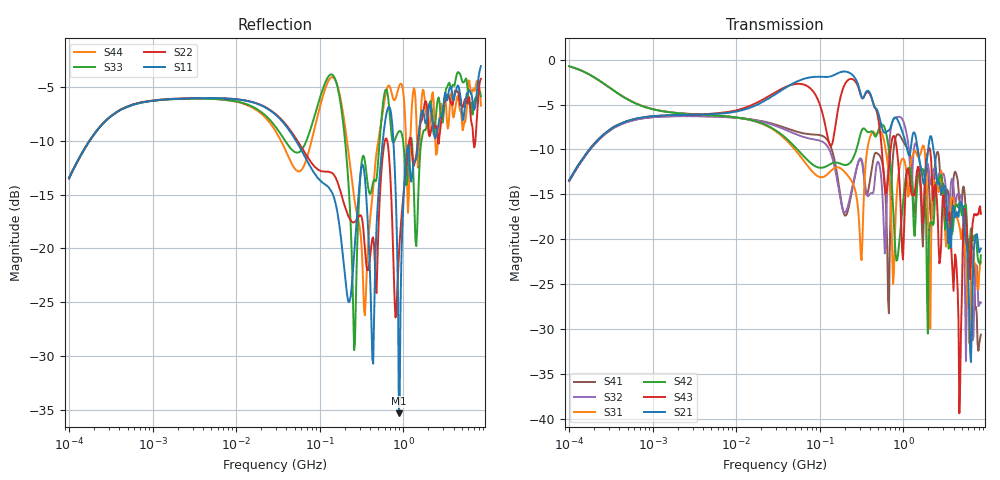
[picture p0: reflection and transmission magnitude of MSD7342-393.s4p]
# MHz S MA R 50
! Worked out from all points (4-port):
!   498 points, 100 kHz to 8.5 GHz, reference 50 ohm
!   strongest paths, dB at 100 kHz, 1.698 MHz, 29.49 MHz, 500.7 MHz, 8.5 GHz:
!     S21: -13.4, -6.2, -3.8, -5.9, -21.0
!     S43: -13.4, -6.2, -3.6, -6.5, -17.2
!     S42: -0.7, -5.9, -7.8, -7.9, -21.8
!     S31: -0.7, -5.9, -7.9, -8.1, -22.6
!     S32: -13.5, -6.3, -7.4, -11.4, -27.1
!     S41: -13.5, -6.3, -7.2, -10.5, -30.6
!   lowest |S11| = -35.3 dB at 886.1 MHz (marker M1), VSWR 1.03, Z = 48.4 - j0.551 ohm
!   |S11| at or under -10 dB: start of sweep to 175.7 kHz; 52.06 MHz to 569 MHz (516.9 MHz wide, 166 % of centre); 761.4 MHz to 1.512 GHz (750.1 MHz wide, 66 % of centre)
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0.1  0.2118 63.4  0.2128 64.2  0.9199 -12.1  0.2106 -116.1
     0.2128 64.2  0.2108 63.7  0.2108 -116.2  0.9209 -12.1
     0.9199 -12.1  0.2108 -116.2  0.214 63.8  0.2129 64.1
     0.2106 -116.1  0.9209 -12.1  0.2129 64.1  0.2125 63.5
88.25704  0.2207 -62.2  0.803 -10.8  0.2297 -141.3  0.3826 47.1
          0.803 -10.8  0.2383 -46.9  0.3586 55.7  0.2551 -135.1
          0.2297 -141.3  0.3586 55.7  0.4221 0.6  0.6415 -35.1
          0.3826 47.1  0.2551 -135.1  0.6415 -35.1  0.3704 8.7
426.6928  0.03069 -149.8  0.5965 -96.2  0.395 -15.7  0.2587 -30.2
          0.5965 -96.2  0.1111 31.9  0.1801 -28.8  0.3986 -34.8
          0.395 -15.7  0.1801 -28.8  0.1947 -26.6  0.5943 -111.3
          0.2587 -30.2  0.3986 -34.8  0.5943 -111.3  0.1727 22.2
689.2879  0.4514 -73.9  0.4094 -115.8  0.1968 -132.4  0.08751 -17.2
          0.4094 -115.8  0.241 -96.5  0.3652 -30.6  0.2842 -143.9
          0.1968 -132.4  0.3652 -30.6  0.4194 -104.1  0.2856 -123.5
          0.08751 -17.2  0.2842 -143.9  0.2856 -123.5  0.5659 -69.5
886.1403  0.01708 -160.5  0.447 -153.9  0.2365 -88.0  0.3832 -107.7
          0.447 -153.9  0.09256 -46.5  0.4812 -109.3  0.09073 -115.1
          0.2365 -88.0  0.4812 -109.3  0.3494 -126.0  0.2388 137.2
          0.3832 -107.7  0.09073 -115.1  0.2388 137.2  0.5625 -114.1
4802.421  0.5153 97.1  0.1622 68.1  0.1123 38.0  0.1612 45.9
          0.1622 68.1  0.4635 89.8  0.1764 22.2  0.1594 37.8
          0.1123 38.0  0.1764 22.2  0.6453 95.2  0.01559 -173.6
          0.1612 45.9  0.1594 37.8  0.01559 -173.6  0.4358 90.3
8500  0.7033 -51.5  0.08873 39.0  0.07424 -25.9  0.02937 -24.7
      0.08873 39.0  0.6136 -62.1  0.04429 -63.9  0.08122 -74.4
      0.07424 -25.9  0.04429 -63.9  0.5093 -61.4  0.1384 -10.7
      0.02937 -24.7  0.08122 -74.4  0.1384 -10.7  0.4612 -92.1
